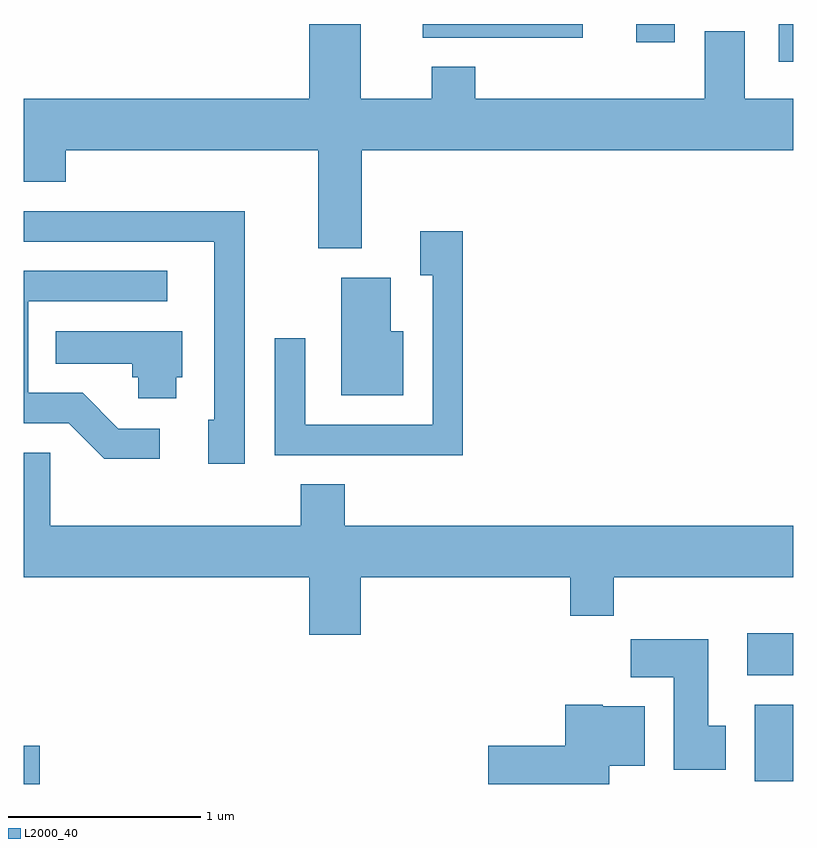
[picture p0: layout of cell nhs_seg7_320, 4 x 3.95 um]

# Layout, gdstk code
import gdstk
lib = gdstk.Library(unit=1e-6, precision=1e-09)
def R(c, l, rs):  # rectangles x0, y0, x1, y1
    for r in rs: c.add(gdstk.rectangle(r[:2], r[2:], *l))
def P(c, l, *ps):  # polygons
    for p in ps: c.add(gdstk.Polygon(p, *l))
L2000_40 = (2000, 40)

nhs_seg7_320 = lib.new_cell('nhs_seg7_320')
R(nhs_seg7_320, L2000_40, [(193.611,1764.301,193.694,1764.499), (197.411,1764.316,197.611,1764.714), (197.371,1764.866,197.611,1765.084), (197.536,1768.056,197.611,1768.252), (196.796,1768.156,196.994,1768.252), (195.686,1768.181,196.518,1768.252)])
P(nhs_seg7_320, L2000_40, [(195.369,1767.596),(197.611,1767.596),(197.611,1767.864),(197.359,1767.864),(197.359,1768.214),(197.151,1768.214),(197.151,1767.864),(195.959,1767.864),(195.959,1768.029),(195.731,1768.029),(195.731,1767.864),(195.364,1767.864),(195.364,1768.252),(195.096,1768.252),(195.096,1767.864),(193.611,1767.864),(193.611,1767.431),(193.829,1767.431),(193.829,1767.596),(195.141,1767.596),(195.141,1767.086),(195.369,1767.086)],
  [(194.759,1767.279),(193.611,1767.279),(193.611,1767.121),(194.601,1767.121),(194.601,1766.194),(194.571,1766.194),(194.571,1765.966),(194.759,1765.966)],
  [(195.894,1767.174),(195.671,1767.174),(195.671,1766.946),(195.736,1766.946),(195.736,1766.169),(195.074,1766.169),(195.074,1766.618),(194.916,1766.618),(194.916,1766.011),(195.894,1766.011)],
  [(194.318,1766.149),(194.102,1766.149),(193.917,1766.334),(193.634,1766.334),(193.634,1766.811),(194.358,1766.811),(194.358,1766.969),(193.611,1766.969),(193.611,1766.176),(193.844,1766.176),(194.029,1765.991),(194.318,1765.991)],
  [(195.584,1766.654),(195.519,1766.654),(195.519,1766.934),(195.261,1766.934),(195.261,1766.321),(195.584,1766.321)],
  [(194.404,1766.416),(194.434,1766.416),(194.434,1766.654),(193.778,1766.654),(193.778,1766.486),(194.176,1766.486),(194.176,1766.416),(194.206,1766.416),(194.206,1766.306),(194.404,1766.306)],
  [(195.364,1765.376),(196.451,1765.376),(196.451,1765.176),(196.679,1765.176),(196.679,1765.376),(197.611,1765.376),(197.611,1765.644),(195.279,1765.644),(195.279,1765.859),(195.051,1765.859),(195.051,1765.644),(193.749,1765.644),(193.749,1766.024),(193.611,1766.024),(193.611,1765.376),(195.096,1765.376),(195.096,1765.076),(195.364,1765.076)],
  [(197.259,1764.604),(197.169,1764.604),(197.169,1765.054),(196.766,1765.054),(196.766,1764.856),(196.991,1764.856),(196.991,1764.376),(197.259,1764.376)],
  [(196.654,1764.396),(196.839,1764.396),(196.839,1764.704),(196.62,1764.704),(196.62,1764.714),(196.426,1764.714),(196.426,1764.499),(196.026,1764.499),(196.026,1764.301),(196.654,1764.301)])

lib.write_gds('nhs_seg7_320.gds')
